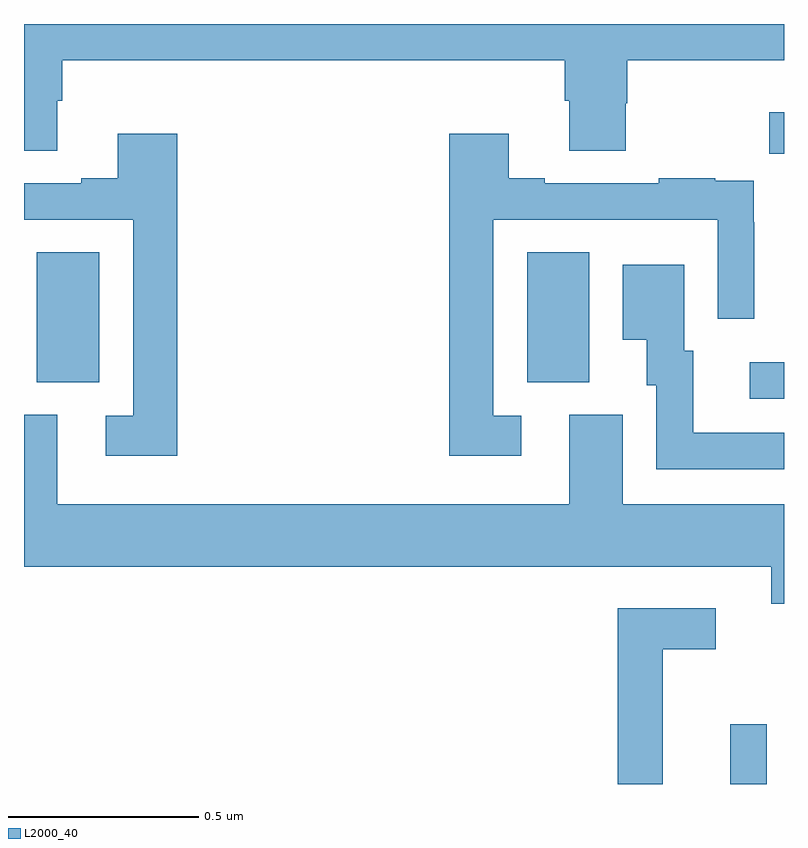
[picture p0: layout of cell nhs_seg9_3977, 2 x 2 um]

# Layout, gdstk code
import gdstk
lib = gdstk.Library(unit=1e-6, precision=1e-09)
def R(c, l, rs):  # rectangles x0, y0, x1, y1
    for r in rs: c.add(gdstk.rectangle(r[:2], r[2:], *l))
def P(c, l, *ps):  # polygons
    for p in ps: c.add(gdstk.Polygon(p, *l))
L2000_40 = (2000, 40)

nhs_seg9_3977 = lib.new_cell('nhs_seg9_3977')
R(nhs_seg9_3977, L2000_40, [(161.859,1210.5,161.955,1210.657), (161.91,1211.514,162,1211.61), (160.034,1211.557,160.198,1211.9), (161.324,1211.557,161.488,1211.9), (161.961,1212.158,162,1212.268)])
P(nhs_seg9_3977, L2000_40, [(160.087,1212.298),(160.1,1212.298),(160.1,1212.404),(161.423,1212.404),(161.423,1212.298),(161.435,1212.298),(161.435,1212.166),(161.583,1212.166),(161.583,1212.291),(161.588,1212.291),(161.588,1212.404),(162,1212.404),(162,1212.5),(160,1212.5),(160,1212.166),(160.087,1212.166)],
  [(161.308,1211.469),(161.235,1211.469),(161.235,1211.985),(161.826,1211.985),(161.826,1211.724),(161.922,1211.724),(161.922,1211.978),(161.921,1211.978),(161.921,1212.087),(161.819,1212.087),(161.819,1212.094),(161.671,1212.094),(161.671,1212.081),(161.371,1212.081),(161.371,1212.094),(161.275,1212.094),(161.275,1212.211),(161.119,1212.211),(161.119,1211.364),(161.308,1211.364)],
  [(160.403,1212.211),(160.247,1212.211),(160.247,1212.094),(160.151,1212.094),(160.151,1212.081),(160,1212.081),(160,1211.985),(160.287,1211.985),(160.287,1211.469),(160.215,1211.469),(160.215,1211.364),(160.403,1211.364)],
  [(162,1211.424),(161.761,1211.424),(161.761,1211.64),(161.737,1211.64),(161.737,1211.866),(161.576,1211.866),(161.576,1211.669),(161.639,1211.669),(161.639,1211.55),(161.664,1211.55),(161.664,1211.328),(162,1211.328)],
  [(162,1211.236),(161.575,1211.236),(161.575,1211.472),(161.435,1211.472),(161.435,1211.236),(160.087,1211.236),(160.087,1211.472),(160,1211.472),(160,1211.072),(161.966,1211.072),(161.966,1210.974),(162,1210.974)],
  [(161.681,1210.854),(161.821,1210.854),(161.821,1210.962),(161.563,1210.962),(161.563,1210.5),(161.681,1210.5)])

lib.write_gds('nhs_seg9_3977.gds')
